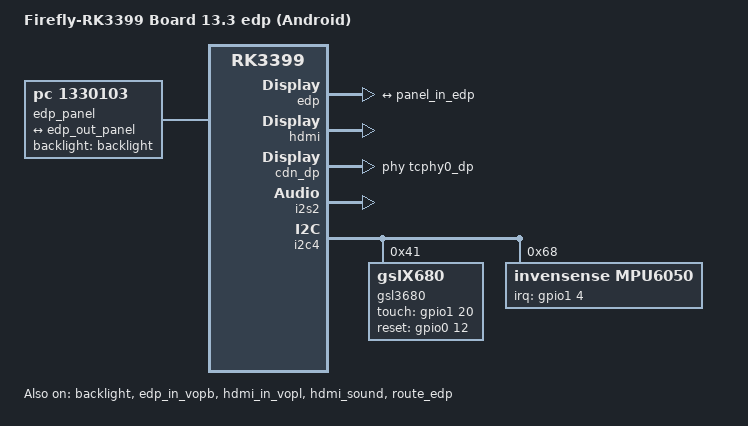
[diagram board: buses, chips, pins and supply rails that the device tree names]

/*
 * Copyright (c) 2016 Fuzhou Rockchip Electronics Co., Ltd
 *
 * This file is dual-licensed: you can use it either under the terms
 * of the GPL or the X11 license, at your option. Note that this dual
 * licensing only applies to this file, and not this project as a
 * whole.
 *
 *  a) This file is free software; you can redistribute it and/or
 *     modify it under the terms of the GNU General Public License as
 *     published by the Free Software Foundation; either version 2 of the
 *     License, or (at your option) any later version.
 *
 *     This file is distributed in the hope that it will be useful,
 *     but WITHOUT ANY WARRANTY; without even the implied warranty of
 *     MERCHANTABILITY or FITNESS FOR A PARTICULAR PURPOSE.  See the
 *     GNU General Public License for more details.
 *
 * Or, alternatively,
 *
 *  b) Permission is hereby granted, free of charge, to any person
 *     obtaining a copy of this software and associated documentation
 *     files (the "Software"), to deal in the Software without
 *     restriction, including without limitation the rights to use,
 *     copy, modify, merge, publish, distribute, sublicense, and/or
 *     sell copies of the Software, and to permit persons to whom the
 *     Software is furnished to do so, subject to the following
 *     conditions:
 *
 *     The above copyright notice and this permission notice shall be
 *     included in all copies or substantial portions of the Software.
 *
 *     THE SOFTWARE IS PROVIDED "AS IS", WITHOUT WARRANTY OF ANY KIND,
 *     EXPRESS OR IMPLIED, INCLUDING BUT NOT LIMITED TO THE WARRANTIES
 *     OF MERCHANTABILITY, FITNESS FOR A PARTICULAR PURPOSE AND
 *     NONINFRINGEMENT. IN NO EVENT SHALL THE AUTHORS OR COPYRIGHT
 *     HOLDERS BE LIABLE FOR ANY CLAIM, DAMAGES OR OTHER LIABILITY,
 *     WHETHER IN AN ACTION OF CONTRACT, TORT OR OTHERWISE, ARISING
 *     FROM, OUT OF OR IN CONNECTION WITH THE SOFTWARE OR THE USE OR
 *     OTHER DEALINGS IN THE SOFTWARE.
 */

/dts-v1/;

#include "rk3399-firefly-port.dtsi" 	

/ {
	model = "Firefly-RK3399 Board 13.3 edp (Android)";
	compatible = "rockchip,android", "rockchip,rk3399-firefly-edp13", "rockchip,rk3399";

	edp_panel: edp-panel {
		/* config 2 */
		compatible = "pc,1330103";
		/* config 3 */
		//compatible = "simple-panel";
		bus-format = <MEDIA_BUS_FMT_RGB666_1X18>;

		backlight = <&backlight>;

		ports {
			panel_in_edp: endpoint {
				remote-endpoint = <&edp_out_panel>;
			};
		};

		power_ctr: power_ctr {
               rockchip,debug = <0>;
               lcd_en: lcd-en {
                       gpios = <&gpio1 4 GPIO_ACTIVE_HIGH>;
					   pinctrl-names = "default";
					   pinctrl-0 = <&lcd_panel_enable>;
                       rockchip,delay = <50>;
               };
       };
	};

	test-power {
		status = "okay";
	};
};

&backlight {
	status = "okay";
    enable-gpios = <&gpio1 1 GPIO_ACTIVE_HIGH>;
    pwms = <&pwm0 0 2500000 0>;
};

&edp {
	status = "okay";

	ports {
		edp_out: port@1 {
			reg = <1>;
			#address-cells = <1>;
			#size-cells = <0>;

			edp_out_panel: endpoint@0 {
				reg = <0>;
				remote-endpoint = <&panel_in_edp>;
			};
		};
	};
};

&edp_in_vopb {
	status = "okay";
};
&edp_in_vopl {
	status = "disabled";
};

&hdmi {
	status = "okay";
};

&hdmi_in_vopb {
	status = "disabled";
};
&hdmi_in_vopl {
	status = "okay";
};

&cdn_dp {
    status = "okay";
    extcon = <&fusb0>;
    phys = <&tcphy0_dp>;
};

&dp_in_vopb {
    status = "disabled";
};


&hdmi_sound {
	status = "okay";
};

&i2s2 {
	status = "okay";
};

&i2c4 {
	status = "okay";
    gsl3680: gsl3680@41 {
	      status = "okay";
              compatible = "gslX680";
              reg = <0x41>;
              screen_max_x = <1536>;
              screen_max_y = <2048>;
              touch-gpio = <&gpio1 20 IRQ_TYPE_LEVEL_LOW>;
              reset-gpio = <&gpio0 12 GPIO_ACTIVE_HIGH>;
      };

	mpu6050:mpu@68{
            status = "okay";
            compatible = "invensense,mpu6050";
            reg = <0x68>;
            mpu-int_config = <0x10>;
            mpu-level_shifter = <0>;
            mpu-orientation = <0 1 0 1 0 0 0 0 1>;
            orientation-x= <1>;
            orientation-y= <1>;
            orientation-z= <1>;
            irq-gpio = <&gpio1 4 IRQ_TYPE_LEVEL_LOW>;
            mpu-debug = <1>;
        };

};

&vopb {
	assigned-clocks = <&cru DCLK_VOP0_DIV>;
	assigned-clock-parents = <&cru PLL_CPLL>;
};

&vopl {
	assigned-clocks = <&cru DCLK_VOP1_DIV>;
	assigned-clock-parents = <&cru PLL_VPLL>;
};

&route_edp {
	status = "okay";
	logo,mode = "center";
};

&pinctrl {
	lcd-panel {
		lcd_panel_reset: lcd-panel-reset {
			rockchip,pins = <4 29 RK_FUNC_GPIO &pcfg_pull_up>;
		};
		lcd_panel_enable: lcd-panel-enable {
			rockchip,pins = <1 1 RK_FUNC_GPIO &pcfg_pull_up>;
		};
	};
};
